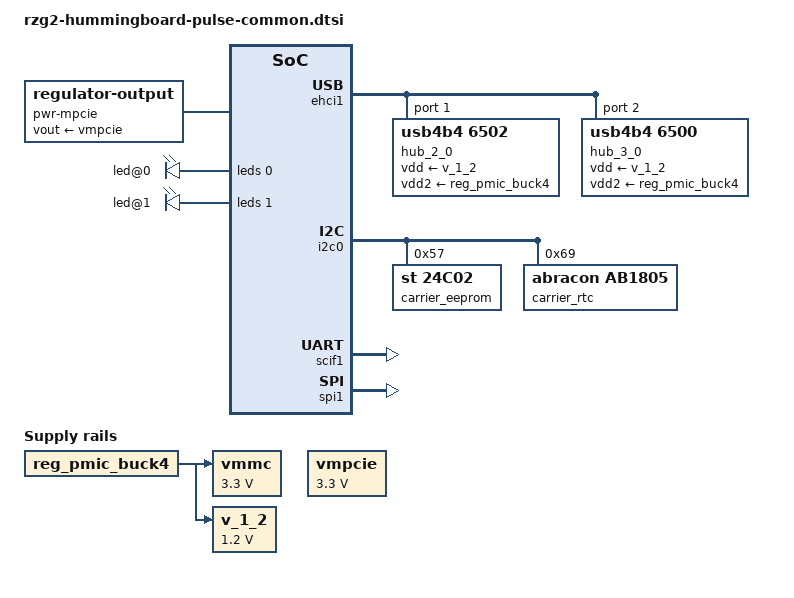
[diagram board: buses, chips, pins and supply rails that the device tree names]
// SPDX-License-Identifier: (GPL-2.0-only OR BSD-2-Clause)
/*
 * Copyright 2025 Josua Mayer <josua@solid-run.com>
 */

/ {
	aliases {
		rtc0 = &carrier_rtc;
		rtc1 = &pmic;
	};

	vmmc: regulator-mmc {
		compatible = "regulator-fixed";
		regulator-name = "vmmc";
		vin-supply = <&reg_pmic_buck4>;
		regulator-min-microvolt = <3300000>;
		regulator-max-microvolt = <3300000>;
		startup-delay-us = <250>;
	};

	v_1_2: regulator-1-2 {
		compatible = "regulator-fixed";
		regulator-name = "1v2";
		regulator-min-microvolt = <1200000>;
		regulator-max-microvolt = <1200000>;
		vin-supply = <&reg_pmic_buck4>;
		regulator-always-on;
	};

	vmpcie: regulator-mpcie-3-3 {
		/* supplies mpcie and m2 connectors */
		compatible = "regulator-fixed";
		regulator-name = "vmpcie";
		enable-active-high;
		regulator-min-microvolt = <3300000>;
		regulator-max-microvolt = <3300000>;
		regulator-boot-on;
	};

	pwr-mpcie {
		compatible = "regulator-output";
		vout-supply = <&vmpcie>;
	};
};

&ehci1 {
	#address-cells = <1>;
	#size-cells = <0>;

	hub_2_0: hub@1 {
		compatible = "usb4b4,6502", "usb4b4,6506";
		reg = <1>;
		peer-hub = <&hub_3_0>;
		vdd-supply = <&v_1_2>;
		vdd2-supply = <&reg_pmic_buck4>;
	};

	/* this device is not visible because host supports 2.0 only */
	hub_3_0: hub@2 {
		compatible = "usb4b4,6500", "usb4b4,6504";
		reg = <2>;
		peer-hub = <&hub_2_0>;
		vdd-supply = <&v_1_2>;
		vdd2-supply = <&reg_pmic_buck4>;
	};
};

&i2c0 {
	carrier_eeprom: eeprom@57{
		compatible = "st,24c02", "atmel,24c02";
		reg = <0x57>;
		pagesize = <16>;
	};

	carrier_rtc: rtc@69 {
		compatible = "abracon,ab1805";
		reg = <0x69>;
		abracon,tc-diode = "schottky";
		abracon,tc-resistor = <3>;
	};
};

&phy0 {
	leds {
		#address-cells = <1>;
		#size-cells = <0>;

		led@0 {
			reg = <0>;
			color = <LED_COLOR_ID_ORANGE>;
			function = LED_FUNCTION_LAN;
			default-state = "keep";
		};

		led@1 {
			reg = <1>;
			color = <LED_COLOR_ID_GREEN>;
			function = LED_FUNCTION_LAN;
			default-state = "keep";
		};
	};
};

/* mikrobus uart */
&scif1 {
	pinctrl-names = "default";
	pinctrl-0 = <&mikro_uart_pins>;
	status = "okay";
};

/* mikrobus spi */
&spi1 {
	num-cs = <1>;
	pinctrl-names = "default";
	pinctrl-0 = <&spi1_pins>, <&spi1_cs_pins>;
	status = "okay";
};

&usb2_phy0 {
	pinctrl-0 = <&usb0_vbus_pins>;
	pinctrl-names = "default";
	dr_mode = "host";
};

&usb2_phy1 {
	dr_mode = "host";
};
